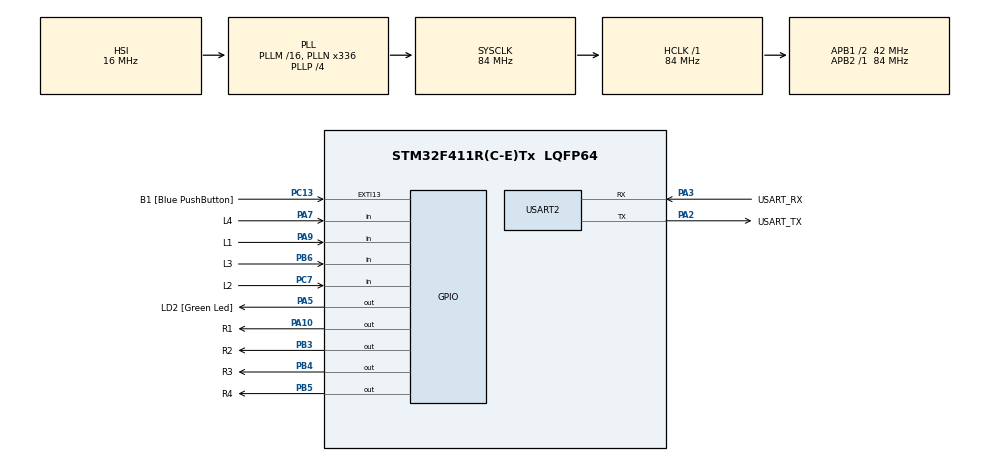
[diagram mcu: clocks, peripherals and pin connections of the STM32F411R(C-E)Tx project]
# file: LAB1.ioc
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Mcu.Family=STM32F4
Mcu.Name=STM32F411R(C-E)Tx
Mcu.Package=LQFP64
NVIC.PriorityGroup=NVIC_PRIORITYGROUP_0
PA10.GPIO_Label=R1
PA10.PinState=GPIO_PIN_SET
PA10.Signal=GPIO_Output
PA13.GPIO_Label=TMS
PA13.Mode=Serial_Wire
PA13.Signal=SYS_JTMS-SWDIO
PA14.GPIO_Label=TCK
PA14.Mode=Serial_Wire
PA14.Signal=SYS_JTCK-SWCLK
PA2.GPIO_Label=USART_TX
PA2.Mode=Asynchronous
PA2.Signal=USART2_TX
PA3.GPIO_Label=USART_RX
PA3.Mode=Asynchronous
PA3.Signal=USART2_RX
PA5.GPIO_Label=LD2 [Green Led]
PA5.Signal=GPIO_Output
PA7.GPIO_Label=L4
PA7.GPIO_PuPd=GPIO_PULLUP
PA7.Signal=GPIO_Input
PA9.GPIO_Label=L1
PA9.GPIO_PuPd=GPIO_PULLUP
PA9.Signal=GPIO_Input
PB3.GPIO_Label=R2
PB3.PinState=GPIO_PIN_SET
PB3.Signal=GPIO_Output
PB4.GPIO_Label=R3
PB4.PinState=GPIO_PIN_SET
PB4.Signal=GPIO_Output
PB5.GPIO_Label=R4
PB5.PinState=GPIO_PIN_SET
PB5.Signal=GPIO_Output
PB6.GPIO_Label=L3
PB6.GPIO_PuPd=GPIO_PULLUP
PB6.Signal=GPIO_Input
PC13-ANTI_TAMP.GPIO_Label=B1 [Blue PushButton]
PC13-ANTI_TAMP.GPIO_ModeDefaultEXTI=GPIO_MODE_IT_FALLING
PC13-ANTI_TAMP.Signal=GPXTI13
PC14-OSC32_IN.Mode=LSE-External-Oscillator
PC14-OSC32_IN.Signal=RCC_OSC32_IN
PC15-OSC32_OUT.Mode=LSE-External-Oscillator
PC15-OSC32_OUT.Signal=RCC_OSC32_OUT
PC7.GPIO_Label=L2
PC7.GPIO_PuPd=GPIO_PULLUP
PC7.Signal=GPIO_Input
PH0\ -\ OSC_IN.Mode=HSE-External-Clock-Source
PH0\ -\ OSC_IN.Signal=RCC_OSC_IN
PH1\ -\ OSC_OUT.Mode=HSE-External-Clock-Source
PH1\ -\ OSC_OUT.Signal=RCC_OSC_OUT
ProjectManager.HeapSize=0x200
ProjectManager.StackSize=0x400
ProjectManager.TargetToolchain=STM32CubeIDE
RCC.48MHZClocksFreq_Value=84000000
RCC.AHBFreq_Value=84000000
RCC.APB1CLKDivider=RCC_HCLK_DIV2
RCC.APB1Freq_Value=42000000
RCC.APB1TimFreq_Value=84000000
RCC.APB2Freq_Value=84000000
RCC.APB2TimFreq_Value=84000000
RCC.CortexFreq_Value=84000000
RCC.FLatency-AdvancedSettings=FLASH_LATENCY_2
RCC.HCLKFreq_Value=84000000
RCC.HSE_VALUE=8000000
RCC.HSI_VALUE=16000000
RCC.PLLN=336
RCC.PLLP=RCC_PLLP_DIV4
RCC.SYSCLKFreq_VALUE=84000000
RCC.SYSCLKSource=RCC_SYSCLKSOURCE_PLLCLK
RCC.VCOOutputFreq_Value=336000000
USART2.VirtualMode=VM_ASYNC
board=NUCLEO-F411RE

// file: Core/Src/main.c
/* USER CODE BEGIN Header */
/**
  ******************************************************************************
  * @file           : main.c
  * @brief          : Main program body
  ******************************************************************************
  * @attention
  *
  * Copyright (c) 2023 STMicroelectronics.
  * All rights reserved.
  *
  * This software is licensed under terms that can be found in the LICENSE file
  * in the root directory of this software component.
  * If no LICENSE file comes with this software, it is provided AS-IS.
  *
  ******************************************************************************
  */
/* USER CODE END Header */
#include "main.h"

UART_HandleTypeDef huart2;

/* USER CODE BEGIN PV */
typedef struct _PortPin
{
	GPIO_TypeDef* PORT;
	uint16_t PIN;
}PortPin;
PortPin R[4] =
{
		{ GPIOA,GPIO_PIN_10 },
		{ GPIOB,GPIO_PIN_3 },
		{ GPIOB,GPIO_PIN_5 },
		{ GPIOB,GPIO_PIN_4 }
};

PortPin L[4] =
{
		{ GPIOA,GPIO_PIN_9 },
		{ GPIOC,GPIO_PIN_7 },
		{ GPIOB,GPIO_PIN_6 },
		{ GPIOA,GPIO_PIN_7 }
};

uint16_t ButtonMatrix = 0,ButtonMatrix_delay = 0;
uint16_t num;
uint64_t id = 0;
/* USER CODE END PV */

void SystemClock_Config(void);
static void MX_GPIO_Init(void);
static void MX_USART2_UART_Init(void);
/* USER CODE BEGIN PFP */
void ReadMatrixButton_1Row();
int MatrixButton2Number();
/* USER CODE END PFP */

int main(void)
{

  /* MCU Configuration--------------------------------------------------------*/

  /* Reset of all peripherals, Initializes the Flash interface and the Systick. */
  HAL_Init();

  /* Configure the system clock */
  SystemClock_Config();

  /* Initialize all configured peripherals */
  MX_GPIO_Init();
  MX_USART2_UART_Init();

  /* Infinite loop */
  while (1)
  {
	static uint32_t timestamp = 0;
	if(HAL_GetTick() >= timestamp)
	{
		timestamp = HAL_GetTick() + 10;

		ReadMatrixButton_1Row();

		if (ButtonMatrix && !ButtonMatrix_delay)//button matrix rising edge
		{
			num = MatrixButton2Number();

			if (num == 10)//clear
			{
				id = 0;
			}
			else if (num == 11)//bs
			{
				id = id/10;
			}
			else if (id == 0 && num < 10)//add first num
			{
				id += num;
			}
			else if (num < 10)
			{
				id = id*10 + num;
			}

			if (id != 64340500065)
			{
				HAL_GPIO_WritePin(GPIOA, GPIO_PIN_5, GPIO_PIN_RESET);
			}
			else if (num == 12)
			{
				HAL_GPIO_WritePin(GPIOA, GPIO_PIN_5, GPIO_PIN_SET);
			}

			id = id%100000000000;
		}
	  ButtonMatrix_delay = ButtonMatrix;
	}//timestamp
    /* USER CODE BEGIN 3 */
  }//while
  /* USER CODE END 3 */
}

void SystemClock_Config(void)
{
  RCC_OscInitTypeDef RCC_OscInitStruct = {0};
  RCC_ClkInitTypeDef RCC_ClkInitStruct = {0};

  /** Configure the main internal regulator output voltage
  */
  __HAL_RCC_PWR_CLK_ENABLE();
  __HAL_PWR_VOLTAGESCALING_CONFIG(PWR_REGULATOR_VOLTAGE_SCALE1);

  /** Initializes the RCC Oscillators according to the specified parameters
  * in the RCC_OscInitTypeDef structure.
  */
  RCC_OscInitStruct.OscillatorType = RCC_OSCILLATORTYPE_HSI;
  RCC_OscInitStruct.HSIState = RCC_HSI_ON;
  RCC_OscInitStruct.HSICalibrationValue = RCC_HSICALIBRATION_DEFAULT;
  RCC_OscInitStruct.PLL.PLLState = RCC_PLL_ON;
  RCC_OscInitStruct.PLL.PLLSource = RCC_PLLSOURCE_HSI;
  RCC_OscInitStruct.PLL.PLLM = 16;
  RCC_OscInitStruct.PLL.PLLN = 336;
  RCC_OscInitStruct.PLL.PLLP = RCC_PLLP_DIV4;
  RCC_OscInitStruct.PLL.PLLQ = 4;
  if (HAL_RCC_OscConfig(&RCC_OscInitStruct) != HAL_OK)
  {
    Error_Handler();
  }

  /** Initializes the CPU, AHB and APB buses clocks
  */
  RCC_ClkInitStruct.ClockType = RCC_CLOCKTYPE_HCLK|RCC_CLOCKTYPE_SYSCLK
                              |RCC_CLOCKTYPE_PCLK1|RCC_CLOCKTYPE_PCLK2;
  RCC_ClkInitStruct.SYSCLKSource = RCC_SYSCLKSOURCE_PLLCLK;
  RCC_ClkInitStruct.AHBCLKDivider = RCC_SYSCLK_DIV1;
  RCC_ClkInitStruct.APB1CLKDivider = RCC_HCLK_DIV2;
  RCC_ClkInitStruct.APB2CLKDivider = RCC_HCLK_DIV1;

  if (HAL_RCC_ClockConfig(&RCC_ClkInitStruct, FLASH_LATENCY_2) != HAL_OK)
  {
    Error_Handler();
  }
}

static void MX_USART2_UART_Init(void)
{

  huart2.Instance = USART2;
  huart2.Init.BaudRate = 115200;
  huart2.Init.WordLength = UART_WORDLENGTH_8B;
  huart2.Init.StopBits = UART_STOPBITS_1;
  huart2.Init.Parity = UART_PARITY_NONE;
  huart2.Init.Mode = UART_MODE_TX_RX;
  huart2.Init.HwFlowCtl = UART_HWCONTROL_NONE;
  huart2.Init.OverSampling = UART_OVERSAMPLING_16;
  if (HAL_UART_Init(&huart2) != HAL_OK)
  {
    Error_Handler();
  }

}

static void MX_GPIO_Init(void)
{
  GPIO_InitTypeDef GPIO_InitStruct = {0};

  /* GPIO Ports Clock Enable */
  __HAL_RCC_GPIOC_CLK_ENABLE();
  __HAL_RCC_GPIOH_CLK_ENABLE();
  __HAL_RCC_GPIOA_CLK_ENABLE();
  __HAL_RCC_GPIOB_CLK_ENABLE();

  /*Configure GPIO pin Output Level */
  HAL_GPIO_WritePin(LD2_GPIO_Port, LD2_Pin, GPIO_PIN_RESET);

  /*Configure GPIO pin Output Level */
  HAL_GPIO_WritePin(R1_GPIO_Port, R1_Pin, GPIO_PIN_SET);

  /*Configure GPIO pin Output Level */
  HAL_GPIO_WritePin(GPIOB, R2_Pin|R3_Pin|R4_Pin, GPIO_PIN_SET);

  /*Configure GPIO pin : B1_Pin */
  GPIO_InitStruct.Pin = B1_Pin;
  GPIO_InitStruct.Mode = GPIO_MODE_IT_FALLING;
  GPIO_InitStruct.Pull = GPIO_NOPULL;
  HAL_GPIO_Init(B1_GPIO_Port, &GPIO_InitStruct);

  /*Configure GPIO pins : LD2_Pin R1_Pin */
  GPIO_InitStruct.Pin = LD2_Pin|R1_Pin;
  GPIO_InitStruct.Mode = GPIO_MODE_OUTPUT_PP;
  GPIO_InitStruct.Pull = GPIO_NOPULL;
  GPIO_InitStruct.Speed = GPIO_SPEED_FREQ_LOW;
  HAL_GPIO_Init(GPIOA, &GPIO_InitStruct);

  /*Configure GPIO pins : L4_Pin L1_Pin */
  GPIO_InitStruct.Pin = L4_Pin|L1_Pin;
  GPIO_InitStruct.Mode = GPIO_MODE_INPUT;
  GPIO_InitStruct.Pull = GPIO_PULLUP;
  HAL_GPIO_Init(GPIOA, &GPIO_InitStruct);

  /*Configure GPIO pin : L2_Pin */
  GPIO_InitStruct.Pin = L2_Pin;
  GPIO_InitStruct.Mode = GPIO_MODE_INPUT;
  GPIO_InitStruct.Pull = GPIO_PULLUP;
  HAL_GPIO_Init(L2_GPIO_Port, &GPIO_InitStruct);

  /*Configure GPIO pins : R2_Pin R3_Pin R4_Pin */
  GPIO_InitStruct.Pin = R2_Pin|R3_Pin|R4_Pin;
  GPIO_InitStruct.Mode = GPIO_MODE_OUTPUT_PP;
  GPIO_InitStruct.Pull = GPIO_NOPULL;
  GPIO_InitStruct.Speed = GPIO_SPEED_FREQ_LOW;
  HAL_GPIO_Init(GPIOB, &GPIO_InitStruct);

  /*Configure GPIO pin : L3_Pin */
  GPIO_InitStruct.Pin = L3_Pin;
  GPIO_InitStruct.Mode = GPIO_MODE_INPUT;
  GPIO_InitStruct.Pull = GPIO_PULLUP;
  HAL_GPIO_Init(L3_GPIO_Port, &GPIO_InitStruct);

}

/* USER CODE BEGIN 4 */
void ReadMatrixButton_1Row() {
    static uint8_t X = 0;
    register int i;
    for (i = 0; i < 4; i++) {
        if (HAL_GPIO_ReadPin(L[i].PORT, L[i].PIN)) {
            ButtonMatrix &= ~(1 << (X * 4 + i));
        } else {
            ButtonMatrix |= 1 << (X * 4 + i);
        }
    }
    HAL_GPIO_WritePin(R[X].PORT, R[X].PIN, 1);
    HAL_GPIO_WritePin(R[(X + 1) % 4].PORT, R[(X + 1) % 4].PIN, 0);
    X++;
    X %= 4;
}
int MatrixButton2Number()
{
	switch (ButtonMatrix)
	{
		case 1://7
			return 7;
			break;
		case 2://4
			return 4;
			break;
		case 4://1
			return 1;
			break;
		case 8://0
			return 0;
			break;
		case 16://8
			return 8;
			break;
		case 32://5
			return 5;
			break;
		case 64://2
			return 2;
			break;
		case 256://9
			return 9;
			break;
		case 512://6
			return 6;
			break;
		case 1024://3
			return 3;
			break;
		case 4096://clear
			return 10;
			break;
		case 8192://bs
			return 11;
			break;
		case 32768://ok
			return 12;
			break;
		default:
			return 99;
			break;

	}
}
/* USER CODE END 4 */

void Error_Handler(void)
{
  __disable_irq();
  while (1)
  {
  }
}
